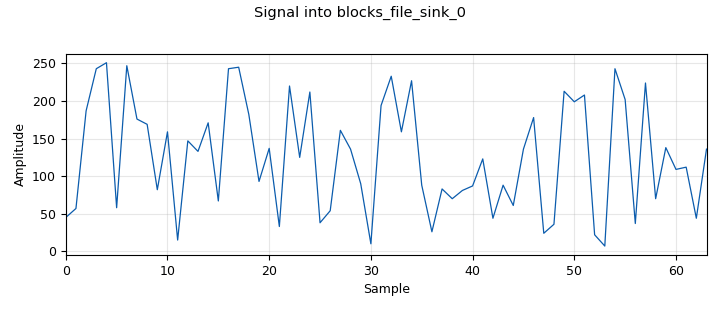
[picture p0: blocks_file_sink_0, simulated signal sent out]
<?xml version='1.0' encoding='utf-8'?>
<?grc format='1' created='3.7.11'?>
<flow_graph>
<block>
<key>options</key>
<param><key>id</key><value>top_block</value></param>
<param><key>generate_options</key><value>qt_gui</value></param>
</block>
<block>
<key>variable_constellation_rect</key>
<param><key>id</key><value>qpsk</value></param>
<param><key>const_points</key><value>[0.707+0.707j, -0.707+0.707j, -0.707-0.707j, 0.707-0.707j]</value></param>
<param><key>_enabled</key><value>0</value></param>
<param><key>imag_sect</key><value>2</value></param>
<param><key>real_sect</key><value>2</value></param>
<param><key>rot_sym</key><value>4</value></param>
<param><key>sym_map</key><value>[0, 1,2,3]</value></param>
<param><key>w_imag_sect</key><value>1</value></param>
<param><key>w_real_sect</key><value>1</value></param>
</block>
<block>
<key>variable</key>
<param><key>id</key><value>samp_rate</value></param>
<param><key>value</key><value>32000</value></param>
</block>
<block>
<key>analog_random_source_x</key>
<param><key>id</key><value>analog_random_source_x_0</value></param>
<param><key>max</key><value>256</value></param>
<param><key>min</key><value>0</value></param>
<param><key>num_samps</key><value>200</value></param>
<param><key>type</key><value>byte</value></param>
<param><key>repeat</key><value>False</value></param>
</block>
<block>
<key>blocks_file_sink</key>
<param><key>id</key><value>blocks_file_sink_0</value></param>
<param><key>file</key><value>/home/xongile/Lab-Project/TestSinks/TestData_200.dat</value></param>
<param><key>type</key><value>byte</value></param>
</block>
<connection><source_block_id>analog_random_source_x_0</source_block_id><sink_block_id>blocks_file_sink_0</sink_block_id><source_key>0</source_key><sink_key>0</sink_key></connection>
</flow_graph>
